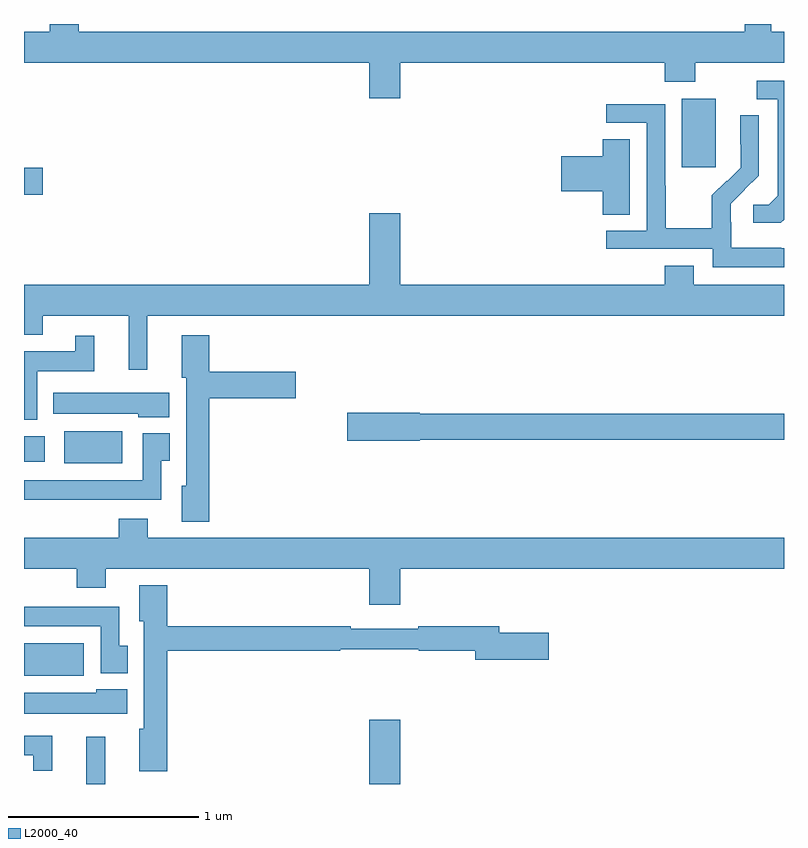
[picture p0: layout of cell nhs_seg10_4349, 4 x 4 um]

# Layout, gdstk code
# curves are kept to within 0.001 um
import gdstk
lib = gdstk.Library(unit=1e-6, precision=1e-09)
def R(c, l, rs):  # rectangles x0, y0, x1, y1
    for r in rs: c.add(gdstk.rectangle(r[:2], r[2:], *l))
def P(c, l, *ps):  # polygons
    for p in ps: c.add(gdstk.Polygon(p, *l))
L2000_40 = (2000, 40)

nhs_seg10_4349 = lib.new_cell('nhs_seg10_4349')
R(nhs_seg10_4349, L2000_40, [(355.328,1316.5,355.427,1316.749), (356.816,1316.5,356.98,1316.839), (355,1317.071,355.315,1317.241), (355.211,1318.187,355.516,1318.357), (355,1318.196,355.108,1318.33), (355,1319.602,355.099,1319.744), (358.463,1319.745,358.642,1320.106)])
P(nhs_seg10_4349, L2000_40, [(356.98,1320.296),(358.373,1320.296),(358.373,1320.197),(358.533,1320.197),(358.533,1320.296),(359,1320.296),(359,1320.46),(358.933,1320.46),(358.933,1320.5),(358.793,1320.5),(358.793,1320.46),(355.289,1320.46),(355.289,1320.5),(355.136,1320.5),(355.136,1320.46),(355,1320.46),(355,1320.296),(356.816,1320.296),(356.816,1320.108),(356.98,1320.108)],
  [(359,1319.471),(359,1320.201),(358.857,1320.201),(358.857,1320.105),(358.967,1320.105),(358.967,1319.597),(358.92,1319.55),(358.839,1319.55),(358.839,1319.453),(358.982,1319.453)],
  [(359,1319.319),(358.985,1319.319),(358.985,1319.323),(358.722,1319.323),(358.722,1319.457),(358.72,1319.457),(358.72,1319.554),(358.866,1319.702),(358.866,1320.02),(358.77,1320.02),(358.77,1319.866),(358.772,1319.866),(358.772,1319.744),(358.701,1319.673),(358.698,1319.676),(358.621,1319.599),(358.621,1319.425),(358.377,1319.425),(358.377,1319.648),(358.374,1319.648),(358.374,1320.078),(358.065,1320.078),(358.065,1319.979),(358.278,1319.979),(358.278,1319.412),(358.065,1319.412),(358.065,1319.316),(358.626,1319.316),(358.626,1319.219),(359,1319.219)],
  [(358.189,1319.894),(358.046,1319.894),(358.046,1319.804),(357.828,1319.804),(357.828,1319.621),(358.046,1319.621),(358.046,1319.497),(358.189,1319.497)],
  [(355.649,1318.964),(359,1318.964),(359,1319.128),(358.525,1319.128),(358.525,1319.227),(358.373,1319.227),(358.373,1319.128),(356.98,1319.128),(356.98,1319.503),(356.816,1319.503),(356.816,1319.128),(355,1319.128),(355,1318.865),(355.099,1318.865),(355.099,1318.964),(355.55,1318.964),(355.55,1318.68),(355.649,1318.68)],
  [(355.976,1318.529),(356.431,1318.529),(356.431,1318.671),(355.976,1318.671),(355.976,1318.861),(355.829,1318.861),(355.829,1318.638),(355.853,1318.638),(355.853,1318.071),(355.829,1318.071),(355.829,1317.881),(355.976,1317.881)],
  [(355.069,1318.673),(355.37,1318.673),(355.37,1318.858),(355.271,1318.858),(355.271,1318.777),(355,1318.777),(355,1318.418),(355.069,1318.418)],
  [(355.765,1318.558),(355.154,1318.558),(355.154,1318.448),(355.602,1318.448),(355.602,1318.43),(355.765,1318.43)],
  [(357.084,1318.312),(359,1318.312),(359,1318.448),(357.084,1318.448),(357.084,1318.454),(356.7,1318.454),(356.7,1318.307),(357.084,1318.307)],
  [(355.723,1318.201),(355.768,1318.201),(355.768,1318.345),(355.626,1318.345),(355.626,1318.099),(355,1318.099),(355,1317.995),(355.723,1317.995)],
  [(356.98,1317.632),(359,1317.632),(359,1317.796),(355.651,1317.796),(355.651,1317.895),(355.499,1317.895),(355.499,1317.796),(355,1317.796),(355,1317.632),(355.277,1317.632),(355.277,1317.533),(355.429,1317.533),(355.429,1317.632),(356.816,1317.632),(356.816,1317.444),(356.98,1317.444)],
  [(355.754,1317.202),(356.664,1317.202),(356.664,1317.21),(357.078,1317.21),(357.078,1317.202),(357.374,1317.202),(357.374,1317.155),(357.763,1317.155),(357.763,1317.297),(357.502,1317.297),(357.502,1317.331),(357.076,1317.331),(357.076,1317.318),(356.72,1317.318),(356.72,1317.331),(355.754,1317.331),(355.754,1317.547),(355.607,1317.547),(355.607,1317.357),(355.631,1317.357),(355.631,1316.79),(355.607,1316.79),(355.607,1316.568),(355.754,1316.568)],
  [(355.546,1317.228),(355.501,1317.228),(355.501,1317.433),(355,1317.433),(355,1317.329),(355.404,1317.329),(355.404,1317.084),(355.546,1317.084)],
  [(355.543,1316.998),(355.38,1316.998),(355.38,1316.98),(355,1316.98),(355,1316.87),(355.543,1316.87)],
  [(355.148,1316.755),(355,1316.755),(355,1316.651),(355.049,1316.651),(355.049,1316.571),(355.148,1316.571)])

lib.write_gds('nhs_seg10_4349.gds')
